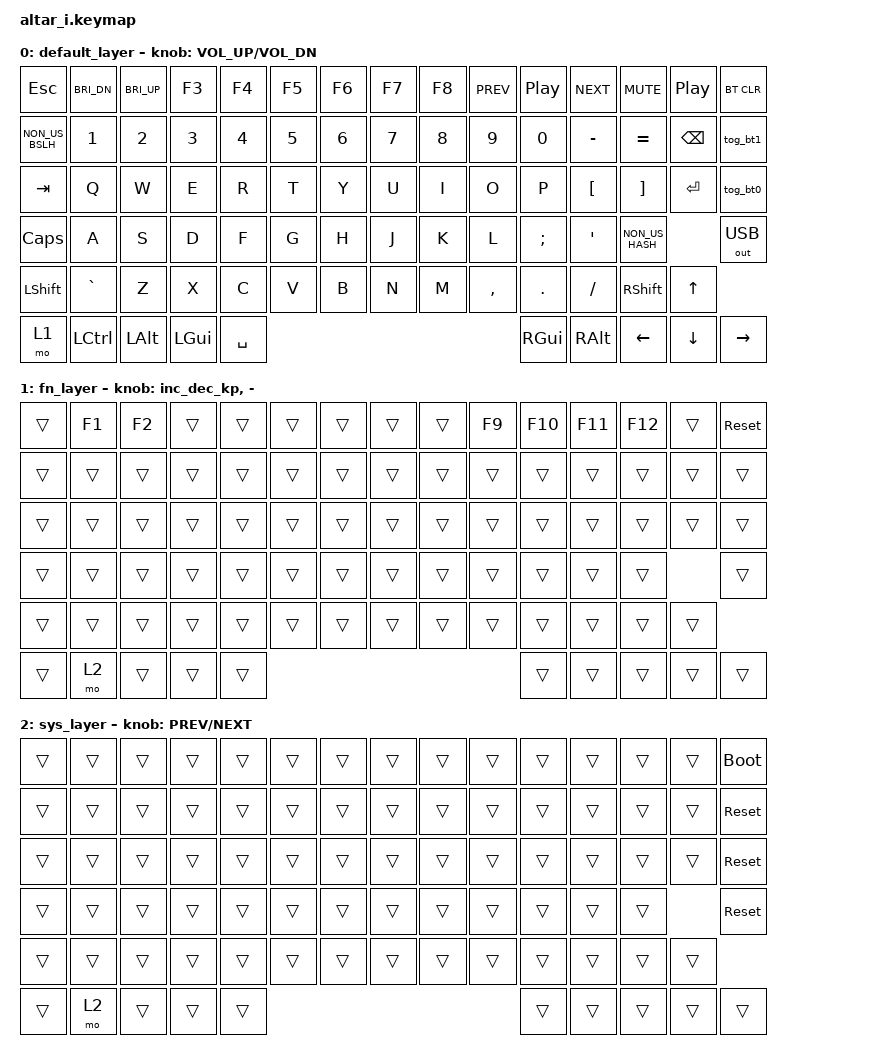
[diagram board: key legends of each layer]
/*
 * Copyright (c) 2023 The ZMK Contributors
 * SPDX-License-Identifier: MIT
 */

#include <behaviors.dtsi>
#include <dt-bindings/zmk/keys.h>
#include <dt-bindings/zmk/bt.h>
#include <dt-bindings/zmk/outputs.h>

/ {
    macros {
        tog_bt0: tog_bt0 {
            compatible = "zmk,behavior-macro";
            #binding-cells = <0>;
            wait-ms = <40>;
            tap-ms = <40>;
            bindings
                = <&out OUT_BLE &bt BT_SEL 0>
                ;
        };
        tog_bt1: tog_bt1 {
            compatible = "zmk,behavior-macro";
            #binding-cells = <0>;
            wait-ms = <40>;
            tap-ms = <40>;
            bindings
                = <&out OUT_BLE &bt BT_SEL 1>
                ;
        };
        zoom_in: zoom_in {
            compatible = "zmk,behavior-macro";
            #binding-cells = <0>;
            bindings
                = <&macro_press &kp LSHIFT &kp LGUI>
                , <&macro_tap &kp EQUAL>
                , <&macro_release &kp LSHIFT &kp LGUI>
                ;
        };
    };
};

#if 1
/* ------------------------- UK ------------------------- */
/ {
    chosen {
        zmk,matrix_transform = &uk;
    };

    keymap {
        compatible = "zmk,keymap";

        default_layer {
// -----------------------------------------------------------------------------------------
// | ESC   | BRI_DN| BRI_UP| F3    | F4    | F5    | F6    | F7    | F8    | PREV  | P/P   | NEXT  | MUTE  | P/P   |               PAIR |
// | ~     | 1     | 2     | 3     | 4     | 5     | 6     | 7     | 8     | 9     | 0     | -     |  =    | BSPC  |               BT2  |
// | TAB   | Q     | W     | E     | R     | T     | Y     | U     | I     | O     | P     | [     |  ]    | ENTER |               BT1  |
// | CAPS  | A     | S     | D     | F     | G     | H     | J     | K     | L     | ;     | '     | NUHS  |       |               USB  |
// | SHIFT | NUBS  | Z     | X     | C     | V     | B     | N     | M     | ,     | .     | /     | SHFT  | UP    |
// | FN1   | CTRL  | ALT   | WIN   |                 SPACE                         | WIN   | ALT   | LFT   | DWN   | RGT   |

            bindings = <
                &kp ESC          &kp C_BRI_DN     &kp C_BRI_UP     &kp F3        &kp F4        &kp F5           &kp F6           &kp F7           &kp F8           &kp C_PREV       &kp C_PLAY_PAUSE &kp C_NEXT       &kp C_MUTE       &kp C_PLAY_PAUSE               &bt BT_CLR
                &kp NON_US_BSLH  &kp N1           &kp N2           &kp N3        &kp N4        &kp N5           &kp N6           &kp N7           &kp N8           &kp N9           &kp N0           &kp MINUS        &kp EQUAL        &kp BSPC                       &tog_bt1
                &kp TAB          &kp Q            &kp W            &kp E         &kp R         &kp T            &kp Y            &kp U            &kp I            &kp O            &kp P            &kp LBKT         &kp RBKT         &kp RET                        &tog_bt0
                &kp CAPS         &kp A            &kp S            &kp D         &kp F         &kp G            &kp H            &kp J            &kp K            &kp L            &kp SEMI         &kp SQT          &kp NON_US_HASH                                 &out OUT_USB
                &kp LSHIFT       &kp GRAVE        &kp Z            &kp X         &kp C         &kp V            &kp B            &kp N            &kp M            &kp COMMA        &kp  DOT         &kp FSLH         &kp RSHIFT       &kp UP
                &mo 1            &kp LCTRL        &kp LALT         &kp LGUI                                     &kp SPACE                                                           &kp  RGUI        &kp RALT         &kp LEFT         &kp DOWN         &kp RIGHT
            >;

            sensor-bindings = <&inc_dec_kp C_VOL_UP C_VOL_DN>;
        };

        fn_layer {
// -----------------------------------------------------------------------------------------
// |       | F1    | F2    |       |       |       |       |       |       | F9    | F10   | F11   |  F12  |       |
// |       |       |       |       |       |       |       |       |       |       |       |       |       |       |
// |       |       |       |       |       |       |       |       |       |       |       |       |       |       |
// |       |       |       |       |       |       |       |       |       |       |       |       |       |       |              RESET |
// |       |       |       |       |       |       |       |       |       |       |       |       |       |       |
// |       | FN2   |       |       |                                               |       |       |       |       |       |

            bindings = <
                &trans           &kp F1           &kp F2           &trans        &trans        &trans           &trans           &trans           &trans           &kp F9           &kp F10          &kp F11          &kp F12          &trans                         &sys_reset
                &trans           &trans           &trans           &trans        &trans        &trans           &trans           &trans           &trans           &trans           &trans           &trans           &trans           &trans                         &trans
                &trans           &trans           &trans           &trans        &trans        &trans           &trans           &trans           &trans           &trans           &trans           &trans           &trans           &trans                         &trans
                &trans           &trans           &trans           &trans        &trans        &trans           &trans           &trans           &trans           &trans           &trans           &trans           &trans                                          &trans
                &trans           &trans           &trans           &trans        &trans        &trans           &trans           &trans           &trans           &trans           &trans           &trans           &trans           &trans
                &trans           &mo 2            &trans           &trans                                       &trans                                                              &trans           &trans           &trans           &trans           &trans
            >;

            sensor-bindings = <&inc_dec_kp &zoom_in MINUS>;
        };

        sys_layer {
// -----------------------------------------------------------------------------------------
// |       |       |       |       |       |       |       |       |       |       |       |       |       |       |
// |       |       |       |       |       |       |       |       |       |       |       |       |       |       |
// |       |       |       |       |       |       |       |       |       |       |       |       |       |       |
// |       |       |       |       |       |       |       |       |       |       |       |       |       |       |         BOOTLOADER |
// |       |       |       |       |       |       |       |       |       |       |       |       |       |       |
// |       |       |       |       |                                               |       |       |       |       |       |

            bindings = <
                &trans           &trans           &trans           &trans        &trans        &trans           &trans           &trans           &trans           &trans           &trans           &trans           &trans           &trans                         &bootloader
                &trans           &trans           &trans           &trans        &trans        &trans           &trans           &trans           &trans           &trans           &trans           &trans           &trans           &trans                         &sys_reset
                &trans           &trans           &trans           &trans        &trans        &trans           &trans           &trans           &trans           &trans           &trans           &trans           &trans           &trans                         &sys_reset
                &trans           &trans           &trans           &trans        &trans        &trans           &trans           &trans           &trans           &trans           &trans           &trans           &trans                                          &sys_reset
                &trans           &trans           &trans           &trans        &trans        &trans           &trans           &trans           &trans           &trans           &trans           &trans           &trans           &trans
                &trans           &mo 2            &trans           &trans                                       &trans                                                              &trans           &trans           &trans           &trans           &trans
            >;

            sensor-bindings =<&inc_dec_kp C_PREV C_NEXT>;
        };
    };
};
#else
/* ------------------------- US ------------------------- */
/ {
    chosen {
        zmk,matrix_transform = &us;
    };

    keymap {
        compatible = "zmk,keymap";

        default_layer {
// -----------------------------------------------------------------------------------------
// | ESC   | BRI_DN| BRI_UP| F3    | F4    | F5    | F6    | F7    | F8    | PREV  | P/P   | NEXT  | MUTE  | P/P   |               PAIR |
// | ~     | 1     | 2     | 3     | 4     | 5     | 6     | 7     | 8     | 9     | 0     | -     |  =    | BSPC  |               BT2  |
// | TAB   | Q     | W     | E     | R     | T     | Y     | U     | I     | O     | P     | [     |  ]    | BSLH  |               BT1  |
// | CAPS  | A     | S     | D     | F     | G     | H     | J     | K     | L     | ;     | '     |         ENTER |               USB  |
// | SHIFT         | Z     | X     | C     | V     | B     | N     | M     | ,     | .     | /     | SHFT  | UP    |
// | FN1   | CTRL  | ALT   | WIN   |                 SPACE                         | WIN   | ALT   | LFT   | DWN   | RGT   |

            bindings = <
    &kp ESC          &kp C_BRI_DN     &kp C_BRI_UP     &kp F3        &kp F4        &kp F5           &kp F6           &kp F7           &kp F8           &kp C_PREV       &kp C_PLAY_PAUSE &kp C_NEXT       &kp C_MUTE       &kp C_PLAY_PAUSE               &bt BT_CLR
    &kp GRAVE  &kp N1           &kp N2           &kp N3        &kp N4        &kp N5           &kp N6           &kp N7           &kp N8           &kp N9           &kp N0           &kp MINUS        &kp EQUAL        &kp BSPC                       &tog_bt1
    &kp TAB          &kp Q            &kp W            &kp E         &kp R         &kp T            &kp Y            &kp U            &kp I            &kp O            &kp P            &kp LBKT         &kp RBKT         &kp BSLH                       &tog_bt0
    &kp CAPS         &kp A            &kp S            &kp D         &kp F         &kp G            &kp H            &kp J            &kp K            &kp L            &kp SEMI         &kp SQT                           &kp RET                        &out OUT_USB
    &kp LSHIFT                        &kp Z            &kp X         &kp C         &kp V            &kp B            &kp N            &kp M            &kp COMMA        &kp  DOT         &kp FSLH         &kp RSHIFT       &kp UP
    &mo 1            &kp LCTRL        &kp LALT         &kp LGUI                                     &kp SPACE                                                           &kp  RGUI        &kp RALT         &kp LEFT         &kp DOWN         &kp RIGHT
            >;

            sensor-bindings = <&inc_dec_kp C_VOL_UP C_VOL_DN>;
        };

        fn_layer {
// -----------------------------------------------------------------------------------------
// |       | F1    | F2    |       |       |       |       |       |       | F9    | F10   | F11   |  F12  |       |
// |       |       |       |       |       |       |       |       |       |       |       |       |       |       |
// |       |       |       |       |       |       |       |       |       |       |       |       |       |       |
// |       |       |       |       |       |       |       |       |       |       |       |       |       |        |              RESET |
// |       |       |       |       |       |       |       |       |       |       |       |       |       |       |
// |       | FN2   |       |       |                                               |       |       |       |       |       |

            bindings = <
    &trans           &kp F1           &kp F2           &trans        &trans        &trans           &trans           &trans           &trans           &kp F9           &kp F10          &kp F11          &kp F12          &trans                         &sys_reset
    &trans           &trans           &trans           &trans        &trans        &trans           &trans           &trans           &trans           &trans           &trans           &trans           &trans           &trans                         &trans
    &trans           &trans           &trans           &trans        &trans        &trans           &trans           &trans           &trans           &trans           &trans           &trans           &trans           &trans                         &trans
    &trans           &trans           &trans           &trans        &trans        &trans           &trans           &trans           &trans           &trans           &trans           &trans           &trans                                          &trans
    &trans                            &trans           &trans        &trans        &trans           &trans           &trans           &trans           &trans           &trans           &trans           &trans           &trans
    &trans           &mo 2            &trans           &trans                                       &trans                                                              &trans           &trans           &trans           &trans           &trans
            >;

            sensor-bindings = <&inc_dec_kp &zoom_in MINUS>;
        };

                sys_layer {
// -----------------------------------------------------------------------------------------
// |       |       |       |       |       |       |       |       |       |       |       |       |       |       |
// |       |       |       |       |       |       |       |       |       |       |       |       |       |       |
// |       |       |       |       |       |       |       |       |       |       |       |       |       |       |
// |       |       |       |       |       |       |       |       |       |       |       |       |       |        |         BOOTLOADER |
// |       |       |       |       |       |       |       |       |       |       |       |       |       |       |
// |       |       |       |       |                                               |       |       |       |       |       |

            bindings = <
    &trans           &trans           &trans           &trans        &trans        &trans           &trans           &trans           &trans           &trans           &trans           &trans           &trans           &trans                         &bootloader
    &trans           &trans           &trans           &trans        &trans        &trans           &trans           &trans           &trans           &trans           &trans           &trans           &trans           &trans                         &trans
    &trans           &trans           &trans           &trans        &trans        &trans           &trans           &trans           &trans           &trans           &trans           &trans           &trans           &trans                         &trans
    &trans           &trans           &trans           &trans        &trans        &trans           &trans           &trans           &trans           &trans           &trans           &trans           &trans                                          &trans
    &trans                            &trans           &trans        &trans        &trans           &trans           &trans           &trans           &trans           &trans           &trans           &trans           &trans
    &trans           &trans           &trans           &trans                                       &trans                                                              &trans           &trans           &trans           &trans           &trans
            >;

            sensor-bindings =<&inc_dec_kp C_PREV C_NEXT>;
        };
    };
};
#endif
